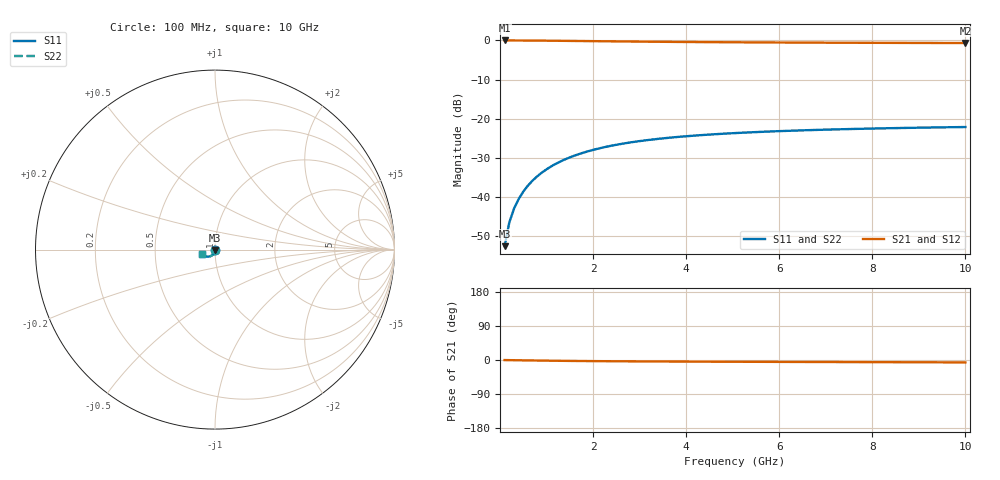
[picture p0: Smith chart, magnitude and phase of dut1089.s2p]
! Touchstone file exported from HFSS 2024.1.0
!  File:  C:/UserFiles/LocalFiles/RDL_TSV_Batchsim/temp_TSV1_1089_1780066230.aedt
!  Generated:  10:55:31 PM May 29, 2026
!  Design:  TSV1
!  Project:  temp_TSV1_1089_1780066230
!  Setup:  Setup1
!  Solution:  Sweep
! Variables:
!  dtsv = 14.99um
!  hbump = 3um
!  htsv = 97.34um
!  lrdl = 252.1521522um
!  p = 40
!  p1 = 50.91um
!  t = 500um
!  trdl = 3um
!  wrdl = 24.89489489um
# GHz S MA R 50.000000
! Terminal data exported
! Port[1] = TSV22_T1
! Port[2] = TSV22_T2
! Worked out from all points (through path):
!   100 points, 100 MHz to 10 GHz, reference 50 ohm
!   highest |S21| = 0.00 dB at 100 MHz (marker M1); lowest = -0.7 dB at 10 GHz (marker M2)
!   lowest |S11| = -52.6 dB at 100 MHz (marker M3), VSWR 1.00, Z = 50 - j0.235 ohm
!   |S11| at or under -10 dB: start of sweep to end of sweep
!   |S22| runs from -52.6 to -22.1 dB; largest |S21 - S12| = 5.6e-15
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0.1  0.002345 -89.6  0.9998 -0.2  0.9998 -0.2  0.002345 -89.6
! Gamma 0 0 0 0
! Port Impedance 50 0 50 0
0.2  0.004691 -92.3  0.9996 -0.4  0.9996 -0.4  0.004691 -92.3
0.3  0.007032 -94.3  0.9992 -0.5  0.9992 -0.5  0.007032 -94.3
0.4  0.009357 -96.3  0.9987 -0.7  0.9987 -0.7  0.009357 -96.3
0.5  0.01165 -98.2  0.9981 -0.9  0.9981 -0.9  0.01165 -98.2
0.6  0.01392 -100.0  0.9973 -1.1  0.9973 -1.1  0.01392 -100.0
0.7  0.01614 -101.7  0.9964 -1.2  0.9964 -1.2  0.01614 -101.7
0.8  0.01832 -103.5  0.9955 -1.4  0.9955 -1.4  0.01832 -103.5
0.9  0.02044 -105.2  0.9944 -1.6  0.9944 -1.6  0.02044 -105.2
1.1  0.02453 -108.4  0.9921 -1.9  0.9921 -1.9  0.02453 -108.4
1.4  0.03021 -113.0  0.9882 -2.3  0.9882 -2.3  0.03021 -113.0
1.6  0.03368 -115.9  0.9854 -2.5  0.9854 -2.5  0.03368 -115.9
1.8  0.0369 -118.6  0.9826 -2.7  0.9826 -2.7  0.0369 -118.6
2.1  0.04129 -122.3  0.9783 -3.0  0.9783 -3.0  0.04129 -122.3
2.5  0.04637 -126.7  0.9728 -3.4  0.9728 -3.4  0.04637 -126.7
2.9  0.05069 -130.6  0.9677 -3.6  0.9677 -3.6  0.05069 -130.6
3.4  0.0552 -134.8  0.9619 -3.9  0.9619 -3.9  0.0552 -134.8
4.2  0.06088 -140.4  0.954 -4.3  0.954 -4.3  0.06088 -140.4
5.1  0.06566 -145.3  0.947 -4.7  0.947 -4.7  0.06566 -145.3
6.7  0.07154 -151.9  0.9379 -5.2  0.9379 -5.2  0.07154 -151.9
8.4  0.0756 -157.1  0.9313 -5.8  0.9313 -5.8  0.0756 -157.1
10  0.07821 -160.8  0.9269 -6.3  0.9269 -6.3  0.07821 -160.8
